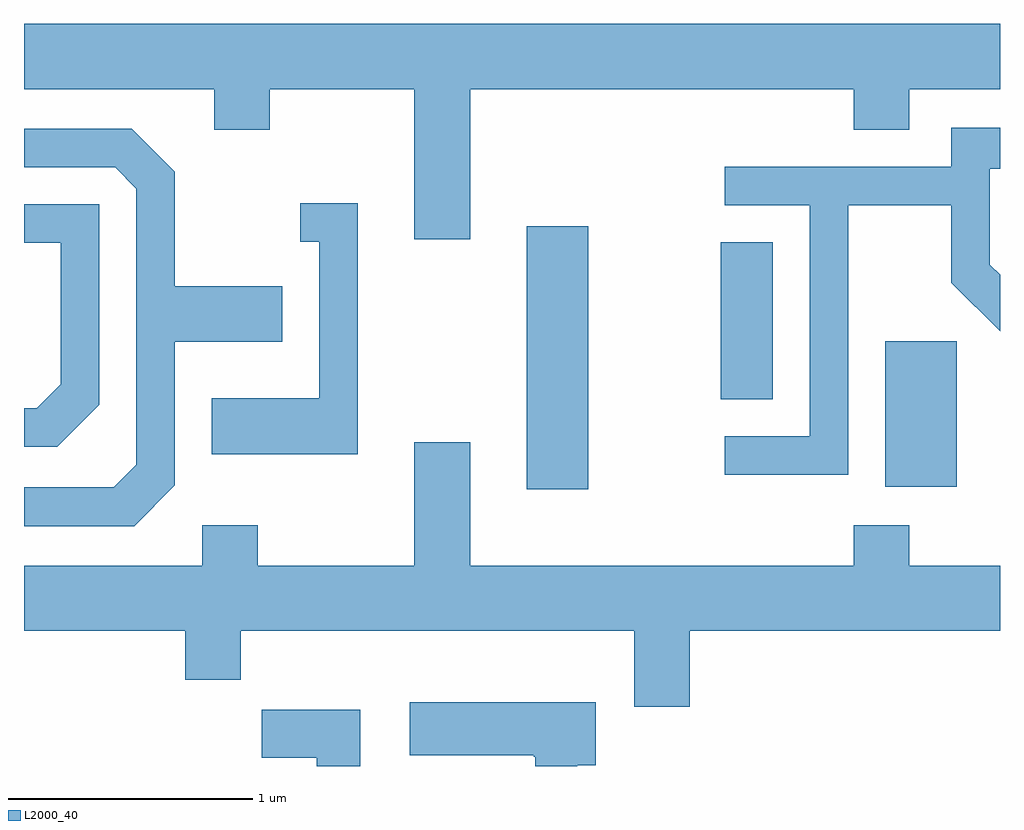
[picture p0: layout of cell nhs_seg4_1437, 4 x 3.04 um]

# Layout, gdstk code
import gdstk
lib = gdstk.Library(unit=1e-6, precision=1e-09)
def R(c, l, rs):  # rectangles x0, y0, x1, y1
    for r in rs: c.add(gdstk.rectangle(r[:2], r[2:], *l))
def P(c, l, *ps):  # polygons
    for p in ps: c.add(gdstk.Polygon(p, *l))
L2000_40 = (2000, 40)

nhs_seg4_1437 = lib.new_cell('nhs_seg4_1437')
R(nhs_seg4_1437, L2000_40, [(229.671,1273.116,229.924,1274.194), (231.141,1273.126,231.434,1273.724), (230.466,1273.486,230.679,1274.129)])
P(nhs_seg4_1437, L2000_40, [(229.439,1274.756),(231.011,1274.756),(231.011,1274.591),(231.239,1274.591),(231.239,1274.756),(231.611,1274.756),(231.611,1275.024),(227.611,1275.024),(227.611,1274.756),(228.391,1274.756),(228.391,1274.591),(228.619,1274.591),(228.619,1274.756),(229.211,1274.756),(229.211,1274.141),(229.439,1274.141)],
  [(230.989,1274.281),(231.411,1274.281),(231.411,1273.964),(231.611,1273.764),(231.611,1273.995),(231.569,1274.037),(231.569,1274.431),(231.611,1274.431),(231.611,1274.599),(231.411,1274.599),(231.411,1274.439),(230.483,1274.439),(230.483,1274.281),(230.831,1274.281),(230.831,1273.334),(230.483,1273.334),(230.483,1273.176),(230.989,1273.176)],
  [(228.229,1273.134),(228.229,1273.721),(228.669,1273.721),(228.669,1273.949),(228.229,1273.949),(228.229,1274.417),(228.052,1274.594),(227.611,1274.594),(227.611,1274.436),(227.984,1274.436),(228.071,1274.349),(228.071,1273.217),(227.979,1273.124),(227.611,1273.124),(227.611,1272.966),(228.062,1272.966)],
  [(228.979,1274.289),(228.743,1274.289),(228.743,1274.131),(228.821,1274.131),(228.821,1273.489),(228.381,1273.489),(228.381,1273.261),(228.979,1273.261)],
  [(227.919,1273.464),(227.919,1274.284),(227.611,1274.284),(227.611,1274.126),(227.761,1274.126),(227.761,1273.547),(227.664,1273.449),(227.611,1273.449),(227.611,1273.291),(227.747,1273.291)],
  [(230.339,1272.536),(231.611,1272.536),(231.611,1272.804),(231.239,1272.804),(231.239,1272.969),(231.011,1272.969),(231.011,1272.804),(229.439,1272.804),(229.439,1273.309),(229.211,1273.309),(229.211,1272.804),(228.569,1272.804),(228.569,1272.969),(228.341,1272.969),(228.341,1272.804),(227.611,1272.804),(227.611,1272.536),(228.271,1272.536),(228.271,1272.336),(228.499,1272.336),(228.499,1272.536),(230.111,1272.536),(230.111,1272.226),(230.339,1272.226)],
  [(229.879,1271.986),(229.954,1271.986),(229.954,1272.244),(229.191,1272.244),(229.191,1272.026),(229.7,1272.026),(229.7,1272.02),(229.706,1272.02),(229.706,1271.982),(229.879,1271.982)],
  [(228.989,1272.214),(228.586,1272.214),(228.586,1272.016),(228.811,1272.016),(228.811,1271.982),(228.989,1271.982)])

lib.write_gds('nhs_seg4_1437.gds')
